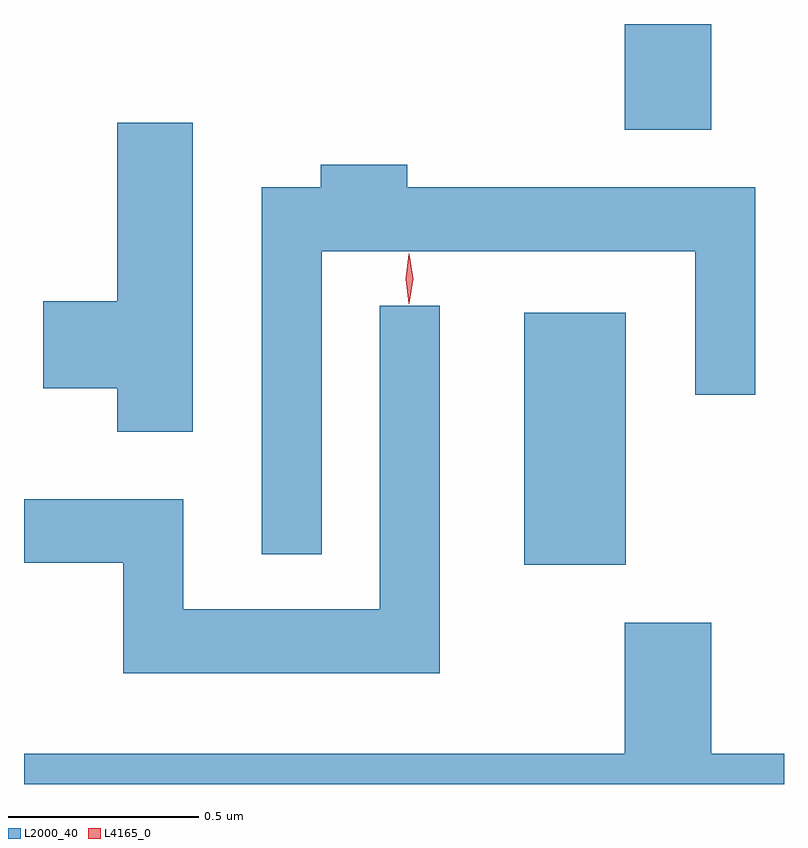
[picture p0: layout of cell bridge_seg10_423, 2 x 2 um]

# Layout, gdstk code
import gdstk
lib = gdstk.Library(unit=1e-6, precision=1e-09)
def R(c, l, rs):  # rectangles x0, y0, x1, y1
    for r in rs: c.add(gdstk.rectangle(r[:2], r[2:], *l))
def P(c, l, *ps):  # polygons
    for p in ps: c.add(gdstk.Polygon(p, *l))
L2000_40 = (2000, 40)
L4165_0 = (4165, 0)

bridge_seg10_423 = lib.new_cell('bridge_seg10_423')
R(bridge_seg10_423, L2000_40, [(1370.766,2145.761,1371.034,2146.424), (1371.031,2146.906,1371.259,2147.184)])
P(bridge_seg10_423, L2000_40, [(1369.894,2146.924),(1369.696,2146.924),(1369.696,2146.454),(1369.501,2146.454),(1369.501,2146.226),(1369.696,2146.226),(1369.696,2146.111),(1369.894,2146.111)],
  [(1370.234,2146.586),(1371.216,2146.586),(1371.216,2146.208),(1371.374,2146.208),(1371.374,2146.754),(1370.459,2146.754),(1370.459,2146.814),(1370.231,2146.814),(1370.231,2146.754),(1370.076,2146.754),(1370.076,2145.788),(1370.234,2145.788)],
  [(1370.544,2146.443),(1370.386,2146.443),(1370.386,2145.644),(1369.869,2145.644),(1369.869,2145.934),(1369.45,2145.934),(1369.45,2145.766),(1369.711,2145.766),(1369.711,2145.476),(1370.544,2145.476)],
  [(1371.45,2145.264),(1371.259,2145.264),(1371.259,2145.609),(1371.031,2145.609),(1371.031,2145.264),(1369.45,2145.264),(1369.45,2145.184),(1371.45,2145.184)])
P(bridge_seg10_423, L4165_0, [(1370.464,2146.447),(1370.463,2146.448),(1370.454,2146.514),(1370.463,2146.58),(1370.463,2146.58),(1370.464,2146.58),(1370.474,2146.514),(1370.464,2146.448)])

lib.write_gds('bridge_seg10_423.gds')
